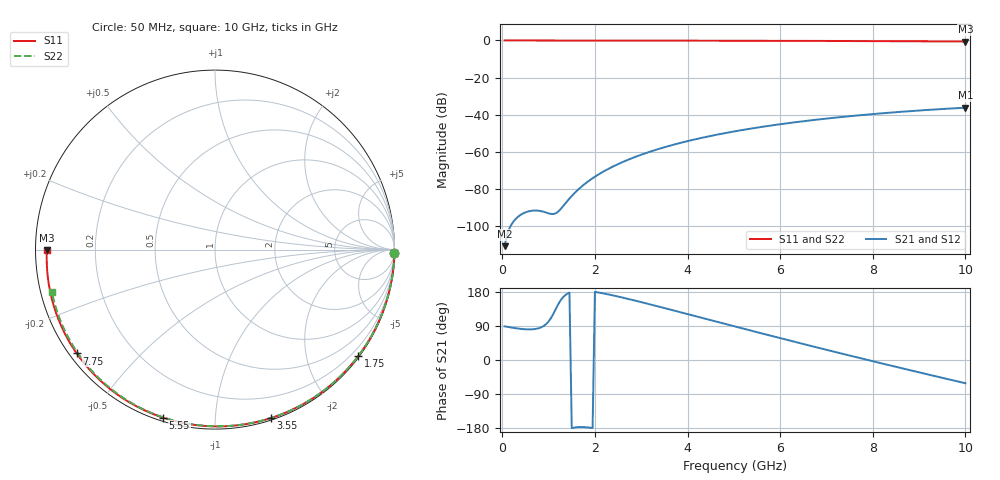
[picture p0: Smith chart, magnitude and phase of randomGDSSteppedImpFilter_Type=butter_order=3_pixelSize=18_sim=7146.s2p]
! freq	dB(S11)	phase(S11)	dB(S12)	phase(S12)
!  dB(S21)	phase(S21)	dB(S22)	phase(S22)
!S-par simulation data
#  GHz  S  DB  R 50
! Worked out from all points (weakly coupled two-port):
!   200 points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, 50 MHz to 10 GHz, reference 50 ohm
!   highest |S21| = -36.21 dB at 10 GHz (marker M1); lowest = -110.8 dB at 50 MHz (marker M2)
!   lowest |S11| = -0.6 dB at 10 GHz (marker M3), VSWR 30.62, Z = 1.63 - j0.0827 ohm
!   |S11| at or under -10 dB: nowhere
!   |S22| runs from -0.5 to 0.0 dB; largest |S21 - S12| = 0
!   S11 on the Smith chart (normalised r, x): 50 MHz: open; 1.75 GHz: 0.03, -3.03; 3.55 GHz: 0.02, -1.38; 5.55 GHz: 0.02, -0.74; 7.75 GHz: 0.02, -0.33; 10 GHz: 0.03, -0.00
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0.05  -0.00 -1.1  -110.78 88.8  -110.78 88.8  -0.00 -1.0
0.4  -0.01 -8.5  -93.85 82.1  -93.85 82.1  -0.01 -7.7
0.8  -0.02 -16.9  -91.74 84.3  -91.74 84.3  -0.02 -15.3
1.2  -0.03 -25.3  -92.31 145.2  -92.31 145.2  -0.03 -22.9
1.65  -0.04 -34.5  -80.03 -177.0  -80.03 -177.0  -0.04 -31.3
1.75  -0.05 -36.5  -77.89 -177.0  -77.89 -177.0  -0.04 -33.2
1.9  -0.05 -39.6  -75.05 -178.6  -75.05 -178.6  -0.05 -35.9
2.05  -0.05 -42.6  -72.57 178.7  -72.57 178.7  -0.05 -38.7
2.25  -0.06 -46.6  -69.69 174.1  -69.69 174.1  -0.05 -42.3
2.45  -0.06 -50.6  -67.17 168.9  -67.17 168.9  -0.06 -46.0
2.9  -0.08 -59.3  -62.44 155.8  -62.44 155.8  -0.07 -54.0
3.4  -0.09 -68.9  -58.25 140.3  -58.25 140.3  -0.08 -62.8
3.55  -0.10 -71.7  -57.16 135.5  -57.16 135.5  -0.09 -65.3
4.3  -0.12 -85.4  -52.48 111.6  -52.48 111.6  -0.11 -78.0
5.05  -0.15 -98.6  -48.80 87.7  -48.80 87.7  -0.14 -90.3
5.55  -0.17 -107.2  -46.74 71.9  -46.74 71.9  -0.16 -98.2
6.1  -0.20 -116.3  -44.77 54.6  -44.77 54.6  -0.19 -106.8
6.7  -0.24 -126.2  -42.91 36.1  -42.91 36.1  -0.23 -116.0
7.75  -0.33 -143.1  -40.20 4.2  -40.20 4.2  -0.30 -131.7
8.35  -0.38 -152.7  -38.92 -13.6  -38.92 -13.6  -0.36 -140.6
9.2  -0.47 -166.5  -37.38 -38.4  -37.38 -38.4  -0.45 -153.3
10  -0.57 -179.8  -36.21 -61.3  -36.21 -61.3  -0.55 -165.6
